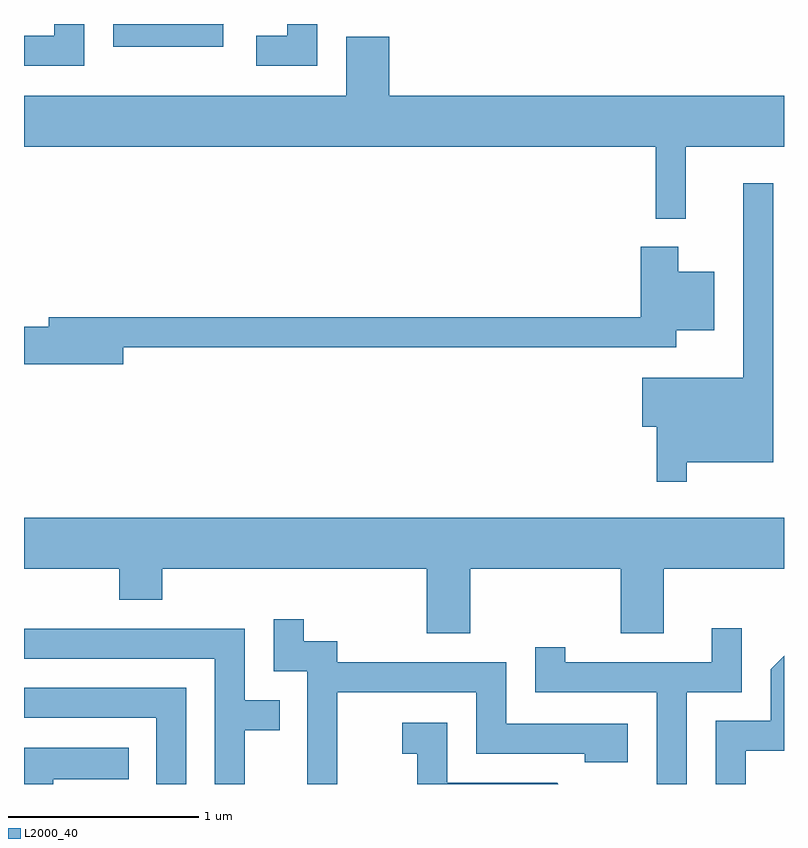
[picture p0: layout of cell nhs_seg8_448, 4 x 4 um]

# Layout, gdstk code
import gdstk
lib = gdstk.Library(unit=1e-6, precision=1e-09)
def P(c, l, *ps):  # polygons
    for p in ps: c.add(gdstk.Polygon(p, *l))
L2000_40 = (2000, 40)

nhs_seg8_448 = lib.new_cell('nhs_seg8_448')
P(nhs_seg8_448, L2000_40, [(197.929,1890.342),(197.771,1890.342),(197.771,1890.279),(197.611,1890.279),(197.611,1890.121),(197.929,1890.121)],
  [(199.154,1890.342),(198.996,1890.342),(198.996,1890.279),(198.833,1890.279),(198.833,1890.121),(199.154,1890.121)],
  [(198.659,1890.339),(198.662,1890.342),(198.081,1890.342),(198.081,1890.221),(198.659,1890.221)],
  [(201.094,1889.696),(201.611,1889.696),(201.611,1889.964),(199.534,1889.964),(199.534,1890.274),(199.306,1890.274),(199.306,1889.964),(197.611,1889.964),(197.611,1889.696),(200.936,1889.696),(200.936,1889.318),(201.094,1889.318)],
  [(201.099,1888.036),(201.554,1888.036),(201.554,1889.503),(201.396,1889.503),(201.396,1888.479),(200.866,1888.479),(200.866,1888.221),(200.941,1888.221),(200.941,1887.933),(201.099,1887.933)],
  [(198.134,1888.641),(201.044,1888.641),(201.044,1888.731),(201.244,1888.731),(201.244,1889.039),(201.054,1889.039),(201.054,1889.169),(200.856,1889.169),(200.856,1888.799),(197.741,1888.799),(197.741,1888.749),(197.611,1888.749),(197.611,1888.551),(198.134,1888.551)],
  [(199.959,1887.476),(200.751,1887.476),(200.751,1887.136),(200.979,1887.136),(200.979,1887.476),(201.611,1887.476),(201.611,1887.744),(197.611,1887.744),(197.611,1887.476),(198.111,1887.476),(198.111,1887.311),(198.339,1887.311),(198.339,1887.476),(199.731,1887.476),(199.731,1887.136),(199.959,1887.136)],
  [(199.259,1886.826),(199.991,1886.826),(199.991,1886.501),(200.561,1886.501),(200.561,1886.456),(200.789,1886.456),(200.789,1886.659),(200.149,1886.659),(200.149,1886.984),(199.259,1886.984),(199.259,1887.094),(199.084,1887.094),(199.084,1887.208),(198.926,1887.208),(198.926,1886.936),(199.101,1886.936),(199.101,1886.342),(199.259,1886.342)],
  [(201.099,1886.826),(201.389,1886.826),(201.389,1887.163),(201.231,1887.163),(201.231,1886.984),(200.459,1886.984),(200.459,1887.063),(200.301,1887.063),(200.301,1886.826),(200.941,1886.826),(200.941,1886.342),(201.099,1886.342)],
  [(198.774,1886.626),(198.958,1886.626),(198.958,1886.784),(198.774,1886.784),(198.774,1887.159),(197.611,1887.159),(197.611,1887.001),(198.616,1887.001),(198.616,1886.342),(198.774,1886.342)],
  [(201.409,1886.516),(201.611,1886.516),(201.611,1887.017),(201.541,1886.947),(201.541,1886.674),(201.251,1886.674),(201.251,1886.342),(201.409,1886.342)],
  [(198.464,1886.849),(197.611,1886.849),(197.611,1886.691),(198.306,1886.691),(198.306,1886.342),(198.464,1886.342)],
  [(200.417,1886.349),(199.839,1886.349),(199.839,1886.664),(199.603,1886.664),(199.603,1886.501),(199.681,1886.501),(199.681,1886.342),(200.424,1886.342)],
  [(197.764,1886.366),(198.163,1886.366),(198.163,1886.534),(197.611,1886.534),(197.611,1886.342),(197.764,1886.342)])

lib.write_gds('nhs_seg8_448.gds')
